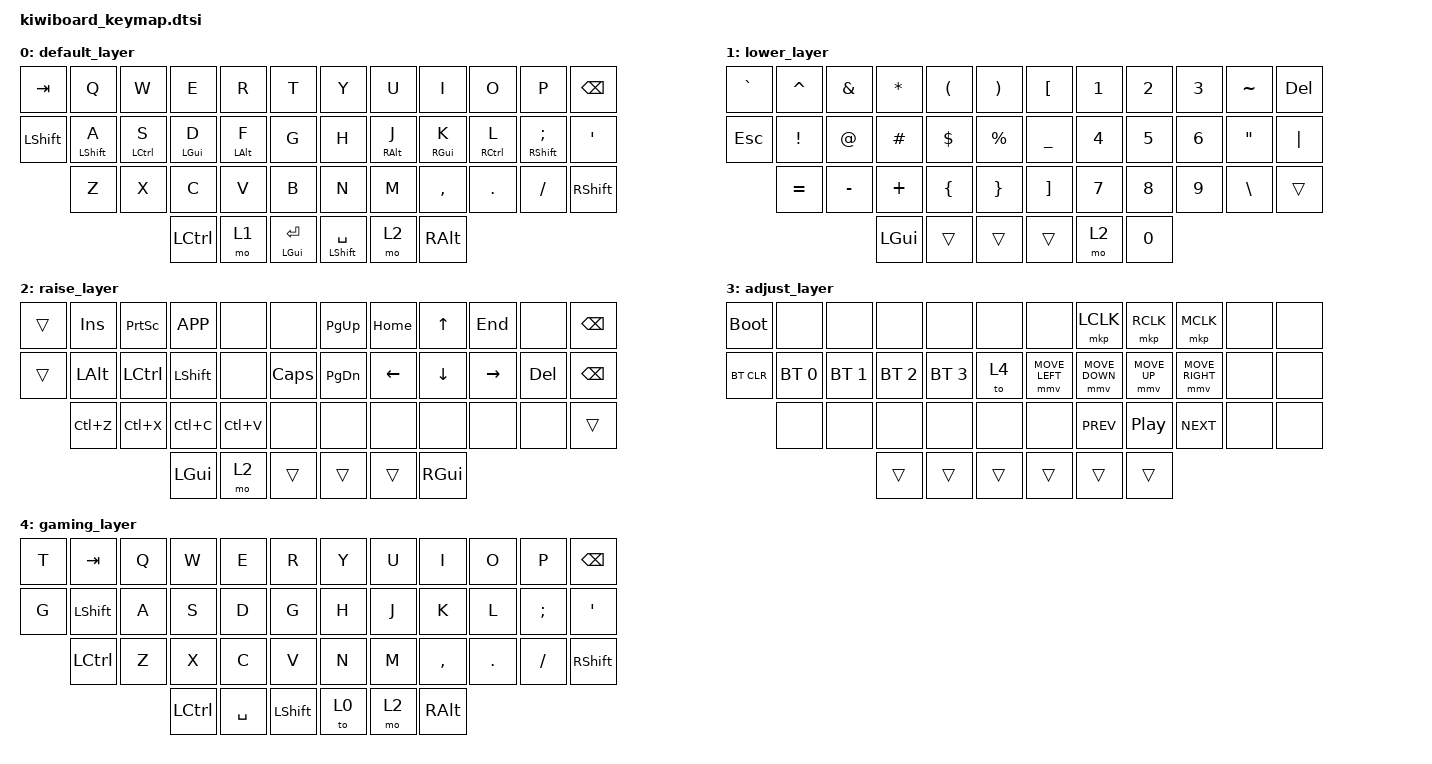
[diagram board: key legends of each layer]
/*
 * Shared keymap: 41 keys (left outer bottom omitted).
 * Source of truth: /home/httpkiwi/Projects/Kiwiboard/layout.vil
 * (Vial app export of Custom Split). Number row folded away — Corne has none.
 *
 * Layers: 0 base, 1 lower, 2 raise, 3 adjust (tri-layer), 4 gaming
 *
 * Dongle bootloader: combo Tab + Bspc → &bootloader (ZMK-only; not in Vial).
 */

#include <behaviors.dtsi>
#include <dt-bindings/zmk/keys.h>
#include <dt-bindings/zmk/bt.h>
#include <dt-bindings/zmk/mouse.h>

/ {
        combos {
                compatible = "zmk,combos";
                /* Vial: Q+W → Esc */
                combo_qw_esc {
                        timeout-ms = <50>;
                        key-positions = <1 2>;
                        bindings = <&kp ESC>;
                };
                /* Vial: J+K → Esc */
                combo_jk_esc {
                        timeout-ms = <50>;
                        key-positions = <19 20>;
                        bindings = <&kp ESC>;
                };
                /* Vial: L+; → : */
                combo_l_semi_colon {
                        timeout-ms = <50>;
                        key-positions = <21 22>;
                        bindings = <&kp COLON>;
                };
                /* Tab + Backspace → UF2 on the dongle (combo = central) */
                combo_bootloader {
                        timeout-ms = <80>;
                        key-positions = <0 11>;
                        bindings = <&bootloader>;
                };
        };

        conditional_layers {
                compatible = "zmk,conditional-layers";
                tri_layer {
                        if-layers = <1 2>;
                        then-layer = <3>;
                };
        };

        keymap {
                compatible = "zmk,keymap";

                default_layer {
/* layout.vil layer 0 (alphas + thumbs; num row omitted) */
// -----------------------------------------------------------------------------------------
// |  TAB |  Q  |  W  |  E  |  R  |  T  |   |  Y  |  U   |  I  |  O  |  P  | BSPC |
// | LSFT |  A  |  S  |  D  |  F  |  G  |   |  H  |  J   |  K  |  L  |  ;  |  '   |
// |      |  Z  |  X  |  C  |  V  |  B  |   |  N  |  M   |  ,  |  .  |  /  | RSFT |
//                    | CTL | LWR | ENT |   | SPC | RSE  | ALT |
                        bindings = <
   &kp TAB     &kp Q         &kp W         &kp E        &kp R       &kp T    &kp Y        &kp U         &kp I         &kp O        &kp P            &kp BSPC
   &kp LSHIFT  &mt LSHIFT A  &mt LCTRL S   &mt LGUI D   &mt LALT F  &kp G    &kp H        &mt RALT J    &mt RGUI K    &mt RCTRL L  &mt RSHIFT SEMI  &kp SQT
               &kp Z         &kp X         &kp C        &kp V       &kp B    &kp N        &kp M         &kp COMMA     &kp DOT      &kp FSLH         &kp RSHIFT
                                       &kp LCTRL &mo 1 &mt LGUI RET          &mt LSHIFT SPACE &mo 2 &kp RALT
                        >;
                };

                lower_layer {
/* layout.vil layer 1 — symbols left, numpad right (F-keys were on num row). */
// -----------------------------------------------------------------------------------------
// |  `   |  ^  |  &  |  *  |  (  |  )  |   |  [  |  1  |  2  |  3  |  ~  | DEL  |
// | ESC  |  !  |  @  |  #  |  $  |  %  |   |  _  |  4  |  5  |  6  |  "  |  |   |
// |      |  =  |  -  |  +  |  {  |  }  |   |  ]  |  7  |  8  |  9  |  \  |      |
//                    | GUI |     |     |   |     |     |  0  |
                        bindings = <
   &kp GRAVE  &kp CARET &kp AMPS  &kp ASTRK &kp LPAR  &kp RPAR   &kp LBKT  &kp N1    &kp N2    &kp N3    &kp TILDE &kp DEL
   &kp ESC    &kp EXCL  &kp AT    &kp HASH  &kp DLLR  &kp PRCNT  &kp UNDER &kp N4    &kp N5    &kp N6    &kp DQT   &kp PIPE
              &kp EQUAL &kp MINUS &kp PLUS  &kp LBRC  &kp RBRC   &kp RBKT  &kp N7    &kp N8    &kp N9    &kp BSLH  &trans
                                    &kp LGUI &trans &trans         &trans &mo 2 &kp N0
                        >;
                };

                raise_layer {
/* layout.vil layer 2 — inverted-T arrows (I=↑ J=← K=↓ L=→). */
// -----------------------------------------------------------------------------------------
// |      | INS | PSCR| MENU|     |     |   | PGUP| HOME|  ↑  | END |     | BSPC |
// |      | LALT| LCTL| LSFT|     | CAPS|   | PGDN|  ←  |  ↓  |  →  | DEL | BSPC |
// |      | UNDO| CUT | COPY| PSTE|     |   |     |     |     |     |     |      |
//                    | GUI |     |     |   |     |     | GUI |
                        bindings = <
   &trans   &kp INS   &kp PSCRN  &kp K_APP  &none     &none      &kp PG_UP  &kp HOME   &kp UP    &kp END    &none     &kp BSPC
   &trans   &kp LALT  &kp LCTRL  &kp LSHIFT &none     &kp CAPS   &kp PG_DN  &kp LEFT   &kp DOWN  &kp RIGHT  &kp DEL   &kp BSPC
            &kp LC(Z) &kp LC(X)  &kp LC(C)  &kp LC(V) &none      &none      &none      &none     &none      &none     &trans
                                    &kp LGUI &mo 2 &trans         &trans &trans &kp RGUI
                        >;
                };

                adjust_layer {
/* layout.vil layer 3 — mouse + media. Left empties hold BT (ZMK-only). */
// -----------------------------------------------------------------------------------------
// | BOOT |     |     |     |     |     |   |     | BTN1| BTN2| BTN3|     |      |
// | BTCLR| BT0 | BT1 | BT2 | BT3 | TOG |   |  M← |  M↓ |  M↑ |  M→ |     |      |
// |      |     |     |     |     |     |   |     | PREV| PLAY| NEXT|     |      |
                        bindings = <
   &bootloader &none        &none        &none        &none        &none     &none &mkp LCLK     &mkp RCLK     &mkp MCLK        &none &none
   &bt BT_CLR  &bt BT_SEL 0 &bt BT_SEL 1 &bt BT_SEL 2 &bt BT_SEL 3 &to 4     &mmv MOVE_LEFT &mmv MOVE_DOWN &mmv MOVE_UP &mmv MOVE_RIGHT &none &none
               &none        &none        &none        &none        &none     &none &kp C_PREV    &kp C_PP      &kp C_NEXT  &none &none
                                    &trans &trans &trans         &trans &trans &trans
                        >;
                };

                gaming_layer {
/* layout.vil layer 4 — shifted WASD block; thumb TO(0) exits. */
// -----------------------------------------------------------------------------------------
// |  T   | TAB |  Q  |  W  |  E  |  R  |   |  Y  |  U  |  I  |  O  |  P  | BSPC |
// |  G   | LSFT|  A  |  S  |  D  |  G  |   |  H  |  J  |  K  |  L  |  ;  |  '   |
// |      | CTL |  Z  |  X  |  C  |  V  |   |  N  |  M  |  ,  |  .  |  /  | RSFT |
//                    | CTL | SPC | SFT |   | BASE| RSE | ALT |
                        bindings = <
   &kp T      &kp TAB    &kp Q &kp W &kp E &kp R    &kp Y &kp U &kp I &kp O &kp P &kp BSPC
   &kp G      &kp LSHIFT &kp A &kp S &kp D &kp G    &kp H &kp J &kp K &kp L &kp SEMI &kp SQT
              &kp LCTRL  &kp Z &kp X &kp C &kp V    &kp N &kp M &kp COMMA &kp DOT &kp FSLH &kp RSHIFT
                           &kp LCTRL &kp SPACE &kp LSHIFT    &to 0 &mo 2 &kp RALT
                        >;
                };
        };
};

/ {
        chosen {
                zmk,physical-layout = &kiwiboard_layout;
        };
};

/* layout.vil settings["4"] = 175ms tapping term. Balanced ≈ QMK PERMISSIVE_HOLD. */
&mt {
        tapping-term-ms = <175>;
        flavor = "balanced";
        quick-tap-ms = <175>;
};
